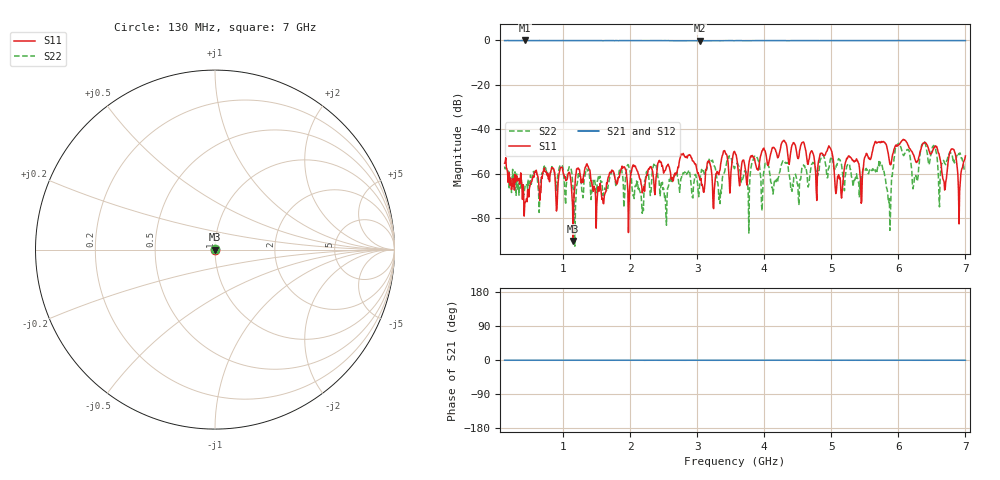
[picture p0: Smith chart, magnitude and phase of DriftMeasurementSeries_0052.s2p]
# Hz S RI R 50.000000
! Metas.Vna.Tools, 2.8.8664.20301
! Metas.Vna.Data, 2.8.8664.20285
! Created: UTC 2024.02.11 10:08:25
! FREQ  re:S1,1  im:S1,1  re:S2,1  im:S2,1  re:S1,2  im:S1,2  re:S2,2  im:S2,2
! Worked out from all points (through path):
!   801 points, 130 MHz to 7 GHz, reference 50 ohm
!   highest |S21| = -0.02 dB at 439.1 MHz (marker M1); lowest = -0.2 dB at 3.041 GHz (marker M2)
!   lowest |S11| = -90.1 dB at 1.152 GHz (marker M3), VSWR 1.00, Z = 50 + j0.00283 ohm
!   |S11| at or under -10 dB: start of sweep to end of sweep
!   |S22| runs from -92.4 to -45.6 dB; largest |S21 - S12| = 0.019
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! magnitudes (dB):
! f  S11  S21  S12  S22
! 130 MHz  -55.1  -0.1  0.0  -56.6
! 439.1 MHz  -72.5  0.0  0.0  -64.5
! 842.8 MHz  -57.2  -0.1  0.0  -57.7
! 1.152 GHz  -90.1  -0.1  0.0  -66.4
! 1.281 GHz  -63.6  -0.1  0.0  -67.4
! 1.607 GHz  -73.4  -0.1  0.0  -68.2
! 1.727 GHz  -58.3  -0.1  0.0  -58.8
! 2.423 GHz  -54.8  -0.1  0.0  -62.5
! 3.041 GHz  -62.2  -0.2  0.0  -63.6
! 3.565 GHz  -50.4  -0.1  0.0  -57.0
! 4.716 GHz  -49.8  -0.1  0.0  -55.5
! 4.982 GHz  -48.3  -0.1  0.0  -54.2
! 5.145 GHz  -68.8  -0.1  0.0  -55.0
! 5.729 GHz  -45.8  -0.1  0.0  -54.7
! 5.858 GHz  -52.3  -0.1  0.0  -72.9
! 5.995 GHz  -47.3  -0.1  0.0  -46.5
! 6.244 GHz  -53.1  -0.1  0.0  -60.6
! 6.382 GHz  -46.1  -0.1  0.0  -45.9
! 6.682 GHz  -63.6  -0.1  0.0  -54.5
! 6.794 GHz  -48.8  -0.1  0.0  -50.8
! 6.914 GHz  -67.8  -0.1  0.0  -50.7
! 7 GHz  -51.9  -0.1  0.0  -59.1
